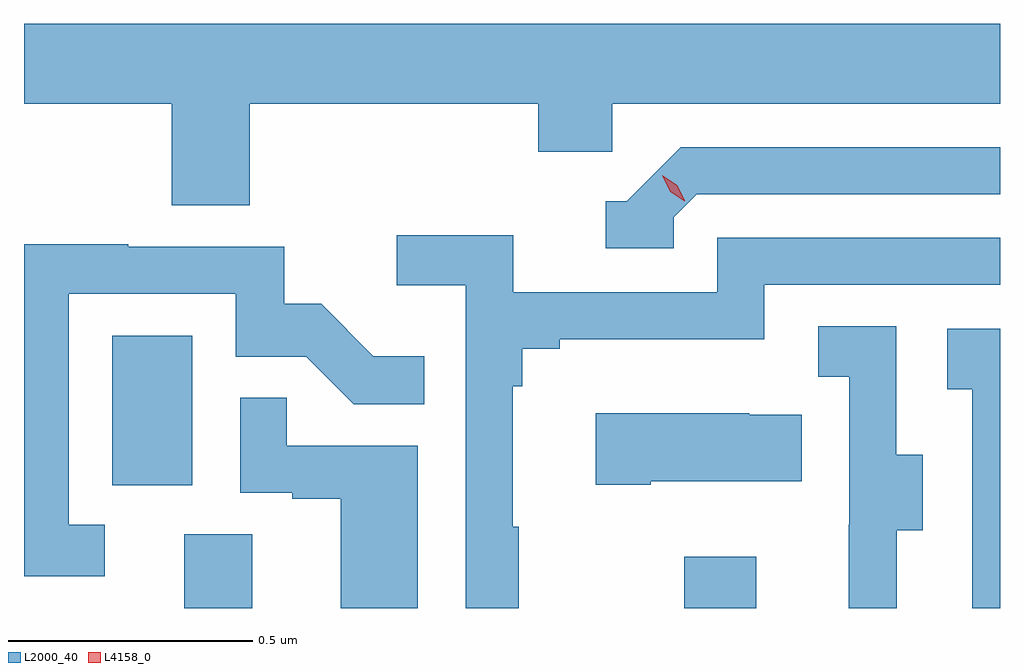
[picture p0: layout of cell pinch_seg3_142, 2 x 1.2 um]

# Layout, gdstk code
import gdstk
lib = gdstk.Library(unit=1e-6, precision=1e-09)
def R(c, l, rs):  # rectangles x0, y0, x1, y1
    for r in rs: c.add(gdstk.rectangle(r[:2], r[2:], *l))
def P(c, l, *ps):  # polygons
    for p in ps: c.add(gdstk.Polygon(p, *l))
L2000_40 = (2000, 40)
L4158_0 = (4158, 0)

pinch_seg3_142 = lib.new_cell('pinch_seg3_142')
R(pinch_seg3_142, L2000_40, [(1130.057,723.858,1130.197,724.01), (1131.082,723.858,1131.229,723.964), (1129.91,724.11,1130.074,724.417)])
P(pinch_seg3_142, L2000_40, [(1130.192,724.892),(1130.783,724.892),(1130.783,724.794),(1130.934,724.794),(1130.934,724.892),(1131.729,724.892),(1131.729,725.056),(1129.729,725.056),(1129.729,724.892),(1130.032,724.892),(1130.032,724.684),(1130.192,724.684)],
  [(1131.06,724.659),(1131.108,724.707),(1131.729,724.707),(1131.729,724.803),(1131.075,724.803),(1130.964,724.692),(1130.921,724.692),(1130.921,724.596),(1131.06,724.596)],
  [(1130.743,724.025),(1130.731,724.025),(1130.731,724.313),(1130.75,724.313),(1130.75,724.39),(1130.827,724.39),(1130.827,724.409),(1131.246,724.409),(1131.246,724.521),(1131.729,724.521),(1131.729,724.617),(1131.15,724.617),(1131.15,724.506),(1130.732,724.506),(1130.732,724.622),(1130.493,724.622),(1130.493,724.52),(1130.634,724.52),(1130.634,723.858),(1130.743,723.858)],
  [(1129.894,724.029),(1129.821,724.029),(1129.821,724.503),(1130.163,724.503),(1130.163,724.374),(1130.307,724.374),(1130.405,724.276),(1130.549,724.276),(1130.549,724.375),(1130.445,724.375),(1130.338,724.482),(1130.262,724.482),(1130.262,724.599),(1129.943,724.599),(1129.943,724.604),(1129.729,724.604),(1129.729,723.924),(1129.894,723.924)],
  [(1131.517,724.018),(1131.571,724.018),(1131.571,724.173),(1131.516,724.173),(1131.516,724.436),(1131.357,724.436),(1131.357,724.333),(1131.42,724.333),(1131.42,724.029),(1131.419,724.029),(1131.419,723.858),(1131.517,723.858)],
  [(1131.729,724.431),(1131.621,724.431),(1131.621,724.307),(1131.672,724.307),(1131.672,723.858),(1131.729,723.858)],
  [(1130.536,724.191),(1130.267,724.191),(1130.267,724.289),(1130.172,724.289),(1130.172,724.095),(1130.279,724.095),(1130.279,724.083),(1130.378,724.083),(1130.378,723.858),(1130.536,723.858)],
  [(1131.013,724.118),(1131.323,724.118),(1131.323,724.255),(1131.215,724.255),(1131.215,724.258),(1130.901,724.258),(1130.901,724.111),(1131.013,724.111)])
P(pinch_seg3_142, L4158_0, [(1131.083,724.692),(1131.053,724.712),(1131.037,724.745),(1131.037,724.745),(1131.037,724.745),(1131.068,724.725),(1131.083,724.693),(1131.083,724.692)])

lib.write_gds('pinch_seg3_142.gds')
